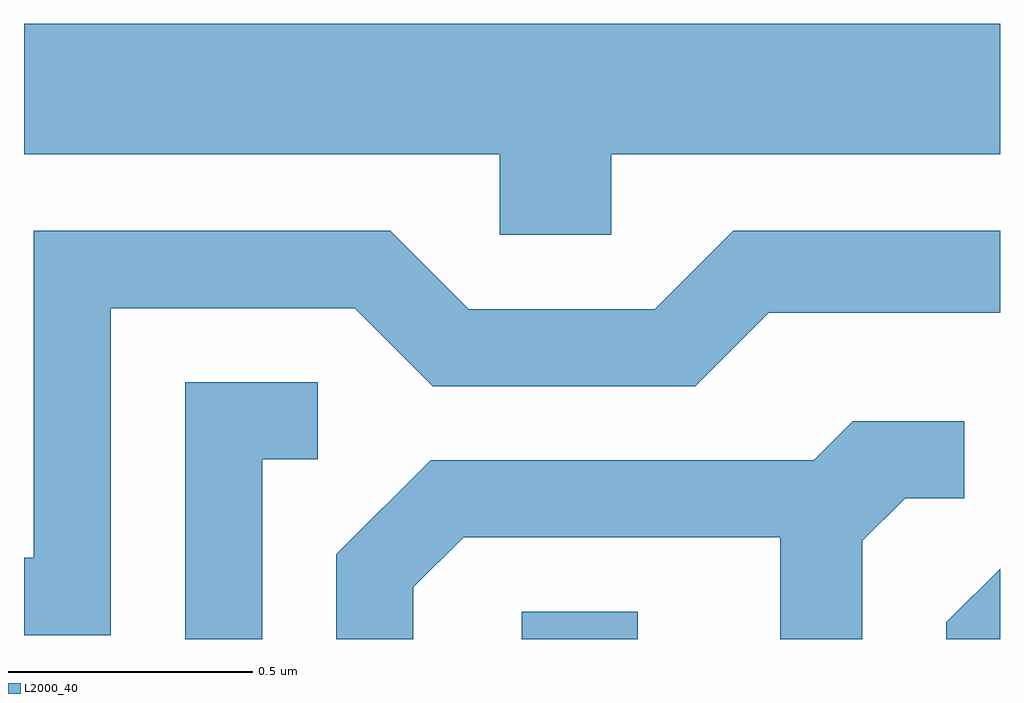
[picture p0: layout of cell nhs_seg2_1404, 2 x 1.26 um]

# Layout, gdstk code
import gdstk
lib = gdstk.Library(unit=1e-6, precision=1e-09)
def R(c, l, rs):  # rectangles x0, y0, x1, y1
    for r in rs: c.add(gdstk.rectangle(r[:2], r[2:], *l))
def P(c, l, *ps):  # polygons
    for p in ps: c.add(gdstk.Polygon(p, *l))
L2000_40 = (2000, 40)

nhs_seg2_1404 = lib.new_cell('nhs_seg2_1404')
R(nhs_seg2_1404, L2000_40, [(196.631,1011.802,196.869,1011.859)])
P(nhs_seg2_1404, L2000_40, [(196.814,1012.796),(197.611,1012.796),(197.611,1013.064),(195.611,1013.064),(195.611,1012.796),(196.586,1012.796),(196.586,1012.631),(196.814,1012.631)],
  [(195.789,1012.481),(196.289,1012.481),(196.449,1012.321),(196.987,1012.321),(197.137,1012.471),(197.611,1012.471),(197.611,1012.639),(197.064,1012.639),(196.904,1012.479),(196.522,1012.479),(196.362,1012.639),(195.631,1012.639),(195.631,1011.969),(195.611,1011.969),(195.611,1011.811),(195.789,1011.811)],
  [(196.099,1012.171),(196.213,1012.171),(196.213,1012.329),(195.941,1012.329),(195.941,1011.802),(196.099,1011.802)],
  [(196.409,1011.909),(196.512,1012.011),(197.161,1012.011),(197.161,1011.802),(197.329,1011.802),(197.329,1012.004),(197.417,1012.091),(197.538,1012.091),(197.538,1012.249),(197.309,1012.249),(197.229,1012.169),(196.444,1012.169),(196.251,1011.977),(196.251,1011.802),(196.409,1011.802)],
  [(197.611,1011.947),(197.501,1011.837),(197.501,1011.802),(197.611,1011.802)])

lib.write_gds('nhs_seg2_1404.gds')
